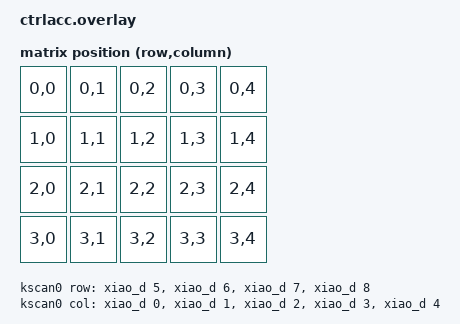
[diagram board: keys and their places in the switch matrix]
#include <dt-bindings/zmk/matrix_transform.h> // Put this with the other includes at the top of your overlay
#include "ctrlacc-layouts.dtsi"

/ {
    kscan0: kscan0 {
        compatible = "zmk,kscan-gpio-matrix";
        wakeup-source;

        col-gpios
            = <&xiao_d 0 GPIO_ACTIVE_HIGH>
            , <&xiao_d 1 GPIO_ACTIVE_HIGH>
            , <&xiao_d 2 GPIO_ACTIVE_HIGH>
            , <&xiao_d 3 GPIO_ACTIVE_HIGH>
            , <&xiao_d 4 GPIO_ACTIVE_HIGH>
            ;

        row-gpios
            = <&xiao_d 5 (GPIO_ACTIVE_HIGH | GPIO_PULL_DOWN)>
            , <&xiao_d 6 (GPIO_ACTIVE_HIGH | GPIO_PULL_DOWN)>
            , <&xiao_d 7 (GPIO_ACTIVE_HIGH | GPIO_PULL_DOWN)>
            , <&xiao_d 8 (GPIO_ACTIVE_HIGH | GPIO_PULL_DOWN)>
            ;
    };
};



/ {
    default_transform: &default_transform {
        compatible = "zmk,matrix-transform";
        columns = <5>; // Length of the "col-gpios" array
        rows = <4>; // Length of the "row-gpios" array
        map = <
        //   Key 1 | Key 2 | Key 3 | Key 4 | Key 5
            RC(0,0) RC(0,1) RC(0,2) RC(0,3) RC(0,4)
        //   Key 6 | Key 7 | Key 8 | Key 9 | Key 10
            RC(1,0) RC(1,1) RC(1,2) RC(1,3) RC(1,4)
        //   Key 11 | Key 12 | Key 13 | Key 14 | Key 15
            RC(2,0) RC(2,1) RC(2,2) RC(2,3) RC(2,4)
        //   Key 16 | Key 17 | Key 18 | Key 19 | Key 20
            RC(3,0) RC(3,1) RC(3,2) RC(3,3) RC(3,4)
        >;
    };
};

/ {
    chosen {
        zmk,physical-layout = &physical_layout0;
        // zmk,matrix-transform = &default_transform;
        // Other chosen items
    };
};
